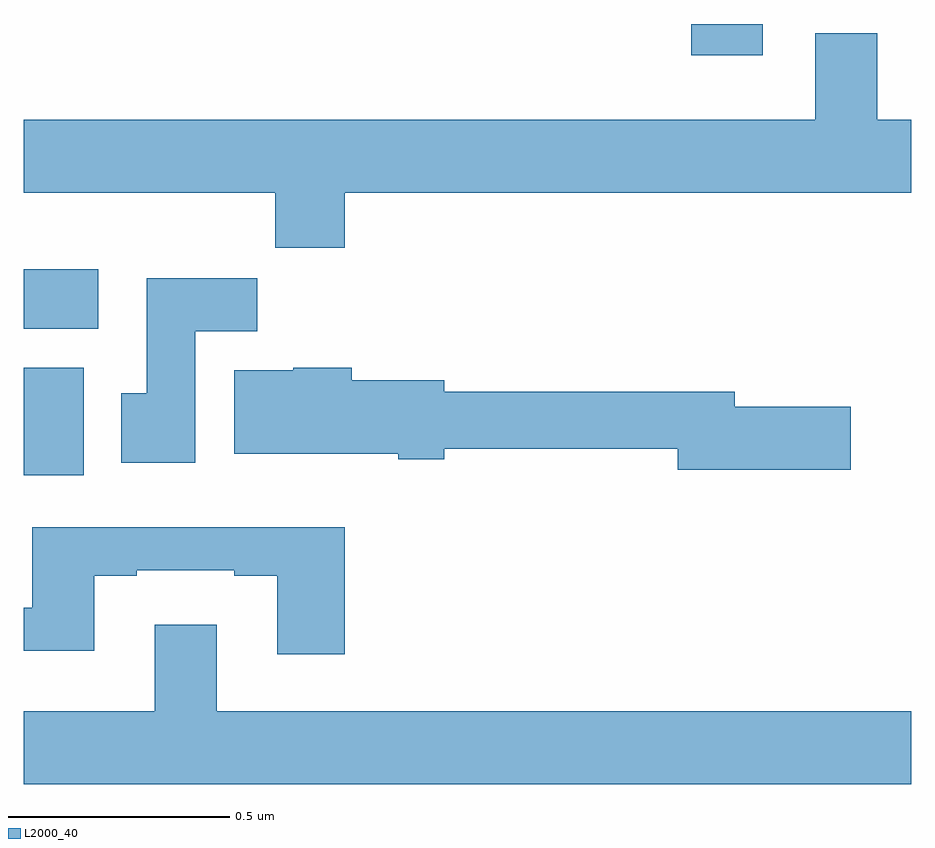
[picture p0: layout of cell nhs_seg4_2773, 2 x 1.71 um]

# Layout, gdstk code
import gdstk
lib = gdstk.Library(unit=1e-6, precision=1e-09)
def R(c, l, rs):  # rectangles x0, y0, x1, y1
    for r in rs: c.add(gdstk.rectangle(r[:2], r[2:], *l))
def P(c, l, *ps):  # polygons
    for p in ps: c.add(gdstk.Polygon(p, *l))
L2000_40 = (2000, 40)

nhs_seg4_2773 = lib.new_cell('nhs_seg4_2773')
R(nhs_seg4_2773, L2000_40, [(145,762.884,145.135,763.126), (145,763.214,145.168,763.348), (146.504,763.83,146.665,763.9)])
P(nhs_seg4_2773, L2000_40, [(145.724,763.52),(147,763.52),(147,763.684),(146.923,763.684),(146.923,763.879),(146.783,763.879),(146.783,763.684),(145,763.684),(145,763.52),(145.567,763.52),(145.567,763.396),(145.724,763.396)],
  [(145.387,763.208),(145.526,763.208),(145.526,763.327),(145.277,763.327),(145.277,763.068),(145.22,763.068),(145.22,762.912),(145.387,762.912)],
  [(146.863,763.038),(146.602,763.038),(146.602,763.072),(145.948,763.072),(145.948,763.098),(145.739,763.098),(145.739,763.126),(145.608,763.126),(145.608,763.12),(145.475,763.12),(145.475,762.932),(145.844,762.932),(145.844,762.92),(145.948,762.92),(145.948,762.943),(146.474,762.943),(146.474,762.896),(146.863,762.896)],
  [(145.724,762.766),(145.019,762.766),(145.019,762.585),(145,762.585),(145,762.488),(145.159,762.488),(145.159,762.657),(145.255,762.657),(145.255,762.669),(145.475,762.669),(145.475,762.657),(145.571,762.657),(145.571,762.48),(145.724,762.48)],
  [(147,762.352),(145.435,762.352),(145.435,762.547),(145.295,762.547),(145.295,762.352),(145,762.352),(145,762.188),(147,762.188)])

lib.write_gds('nhs_seg4_2773.gds')
